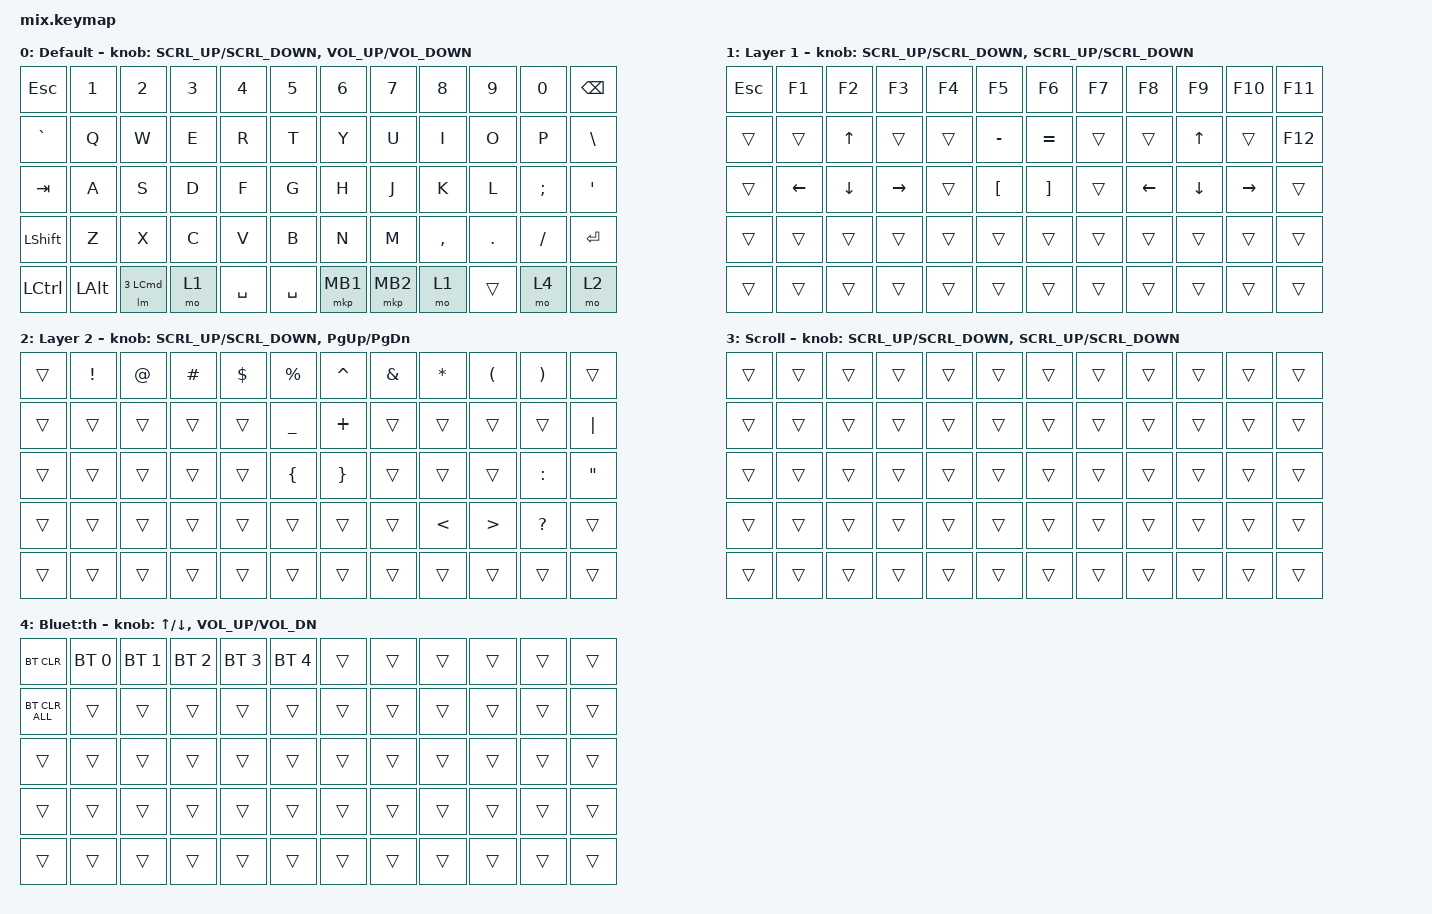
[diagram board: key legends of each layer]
/*
 * Copyright (c) 2020 The ZMK Contributors
 *
 * SPDX-License-Identifier: MIT
 */

#include <behaviors.dtsi>
#include <dt-bindings/zmk/bt.h>
#include <dt-bindings/zmk/keys.h>
#include <dt-bindings/zmk/pointing.h>

#define ZMK_POINTING_DEFAULT_SCRL_VAL 40

/ {
    combos {
        compatible = "zmk,combos";

        boot {
            bindings = <&bootloader>;
            key-positions = <0 11 54 53>;
        };

        combo_ru_x {
            bindings = <&kp LEFT_BRACKET>;
            key-positions = <22 23>;
        };

        combo_ru_tb {
            bindings = <&kp RIGHT_BRACKET>;
            key-positions = <34 35>;
        };

        combo_minus {
            bindings = <&kp MINUS>;
            key-positions = <9 10>;
        };

        combo_equal {
            bindings = <&kp EQUAL>;
            key-positions = <10 11>;
        };
    };

    behaviors {
        encoder_sc: encoder_sc {
            compatible = "zmk,behavior-sensor-rotate-var";
            label = "ENCODER_SC";
            #sensor-binding-cells = <2>;
            bindings = <&msc>, <&msc>;

            tap-ms = <40>;
        };

        lm: lm {
            compatible = "zmk,behavior-macro-two-param";
            wait-ms = <0>;
            tap-ms = <0>;
            #binding-cells = <2>;
            bindings =
                <&macro_param_1to1>,
                <&macro_press>,
                <&mo MACRO_PLACEHOLDER &macro_param_2to1>,
                <&macro_press>,
                <&kp MACRO_PLACEHOLDER>,
                <&macro_pause_for_release>,
                <&macro_param_2to1>,
                <&macro_release>,
                <&kp MACRO_PLACEHOLDER &macro_param_1to1>,
                <&macro_release>,
                <&mo MACRO_PLACEHOLDER>;
        };
    };

    macros {
    };

    keymap {
        compatible = "zmk,keymap";

        LAYER0 {
            display-name = "Default";
            bindings = <
&kp ESCAPE  &kp N1        &kp N2              &kp N3  &kp NUMBER_4  &kp N5     &kp NUMBER_6  &kp N7    &kp N8     &kp N9   &kp N0         &kp BSPC
&kp GRAVE   &kp Q         &kp W               &kp E   &kp R         &kp T      &kp Y         &kp U     &kp I      &kp O    &kp P          &kp BACKSLASH
&kp TAB     &kp A         &kp S               &kp D   &kp F         &kp G      &kp H         &kp J     &kp K      &kp L    &kp SEMICOLON  &kp SQT
&kp LSHFT   &kp Z         &kp X               &kp C   &kp V         &kp B      &kp N         &kp M     &kp COMMA  &kp DOT  &kp FSLH       &kp RET
&kp LCTRL   &kp LEFT_ALT  &lm 3 LEFT_COMMAND  &mo 1   &kp SPACE     &kp SPACE  &mkp MB1      &mkp MB2  &mo 1      &trans   &mo 4          &mo 2
            >;

            sensor-bindings =
                <&encoder_sc SCRL_UP SCRL_DOWN>,
                <&inc_dec_kp C_VOLUME_UP C_VOLUME_DOWN>;
        };

        LAYER1 {
            display-name = "Layer 1";
            bindings = <
&kp ESC  &kp F1          &kp F2          &kp F3           &kp F4  &kp F5            &kp F6             &kp F7  &kp F8          &kp F9          &kp F10          &kp F11
&trans   &trans          &kp UP_ARROW    &trans           &trans  &kp MINUS         &kp EQUAL          &trans  &trans          &kp UP_ARROW    &trans           &kp F12
&trans   &kp LEFT_ARROW  &kp DOWN_ARROW  &kp RIGHT_ARROW  &trans  &kp LEFT_BRACKET  &kp RIGHT_BRACKET  &trans  &kp LEFT_ARROW  &kp DOWN_ARROW  &kp RIGHT_ARROW  &trans
&trans   &trans          &trans          &trans           &trans  &trans            &trans             &trans  &trans          &trans          &trans           &trans
&trans   &trans          &trans          &trans           &trans  &trans            &trans             &trans  &trans          &trans          &trans           &trans
            >;

            sensor-bindings =
                <&encoder_sc SCRL_UP SCRL_DOWN>,
                <&encoder_sc SCRL_UP SCRL_DOWN>;
        };

        LAYER2 {
            display-name = "Layer 2";
            bindings = <
&trans  &kp EXCLAMATION  &kp AT_SIGN  &kp HASH  &kp DOLLAR  &kp PERCENT     &kp CARET        &kp AMPERSAND  &kp ASTERISK   &kp LEFT_PARENTHESIS  &kp RIGHT_PARENTHESIS  &trans
&trans  &trans           &trans       &trans    &trans      &kp UNDERSCORE  &kp PLUS         &trans         &trans         &trans                &trans                 &kp PIPE
&trans  &trans           &trans       &trans    &trans      &kp LEFT_BRACE  &kp RIGHT_BRACE  &trans         &trans         &trans                &kp COLON              &kp DOUBLE_QUOTES
&trans  &trans           &trans       &trans    &trans      &trans          &trans           &trans         &kp LESS_THAN  &kp GREATER_THAN      &kp QUESTION           &trans
&trans  &trans           &trans       &trans    &trans      &trans          &trans           &trans         &trans         &trans                &trans                 &trans
            >;

            sensor-bindings =
                <&encoder_sc SCRL_UP SCRL_DOWN>,
                <&inc_dec_kp PAGE_UP PAGE_DOWN>;
        };

        LAYER3 {
            display-name = "Scroll";
            bindings = <
&trans  &trans  &trans  &trans  &trans  &trans  &trans  &trans  &trans  &trans  &trans  &trans
&trans  &trans  &trans  &trans  &trans  &trans  &trans  &trans  &trans  &trans  &trans  &trans
&trans  &trans  &trans  &trans  &trans  &trans  &trans  &trans  &trans  &trans  &trans  &trans
&trans  &trans  &trans  &trans  &trans  &trans  &trans  &trans  &trans  &trans  &trans  &trans
&trans  &trans  &trans  &trans  &trans  &trans  &trans  &trans  &trans  &trans  &trans  &trans
            >;

            sensor-bindings =
                <&encoder_sc SCRL_UP SCRL_DOWN>,
                <&encoder_sc SCRL_UP SCRL_DOWN>;
        };

        LAYER4 {
            display-name = "Bluet:th";
            bindings = <
&bt BT_CLR      &bt BT_SEL 0  &bt BT_SEL 1  &bt BT_SEL 2  &bt BT_SEL 3  &bt BT_SEL 4  &trans  &trans  &trans  &trans  &trans  &trans
&bt BT_CLR_ALL  &trans        &trans        &trans        &trans        &trans        &trans  &trans  &trans  &trans  &trans  &trans
&trans          &trans        &trans        &trans        &trans        &trans        &trans  &trans  &trans  &trans  &trans  &trans
&trans          &trans        &trans        &trans        &trans        &trans        &trans  &trans  &trans  &trans  &trans  &trans
&trans          &trans        &trans        &trans        &trans        &trans        &trans  &trans  &trans  &trans  &trans  &trans
            >;

            sensor-bindings =
                <&inc_dec_kp UP_ARROW DOWN_ARROW>,
                <&inc_dec_kp C_VOL_UP C_VOL_DN>;
        };
    };
};
